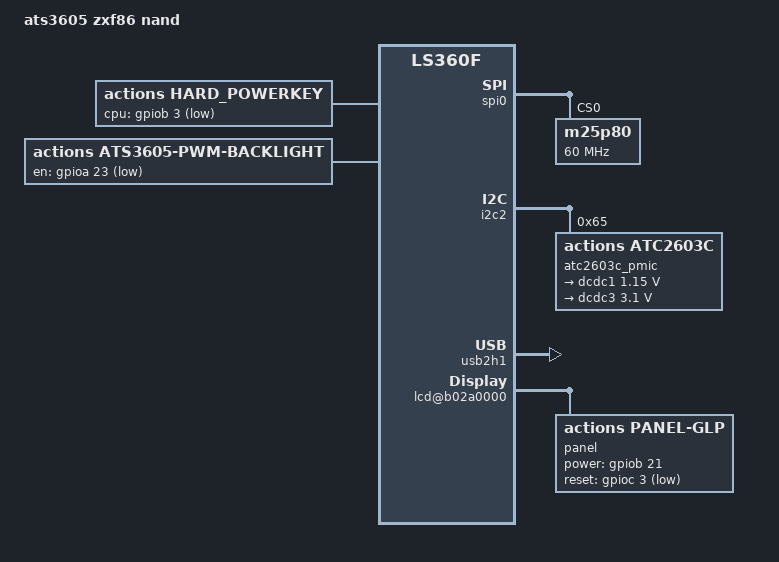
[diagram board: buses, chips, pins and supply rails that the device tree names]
/*
 * Copyright (c) 2015 Actions Semi Co., Ltd.
 *
 * SPDX-License-Identifier:	GPL-2.0+
 */

/dts-v1/;

#include "ats3605.dtsi"

/ {
	model = "ats3605 zxf86 nand";
	compatible ="actions,ats3605";

	chosen {
		stdout-path = &serial5;
	};


	spi0: spi@b0300000 {
		status = "okay";
		m25p80@0 {
            compatible = "m25p80";
            #address-cells = <1>;
            #size-cells = <0>;
            reg = <0x0>;
            spi-max-frequency = <60000000>;
            uboot-partition = <0x0 0xe0000>;
            misc-partition = <0xe0000 0x20000>;
            system-partition = <0x100000 0xf00000>;
        };
	};

	hard_powerkey {
		compatible = "actions,hard_powerkey";
		cpu_gpios = <&gpiob 3 1>;/*hard_powerkey, (0: high  , 1: low )*/
		//pmu_sgpio = <4 1> ;  /*4 SGPIO num,    (0: high, 1: low)*/
	};
	i2c2: i2c@b0188000{
		#address-cells = <1>;
		#size-cells = <1>;
		atc2603c_pmic {
			compatible = "actions,atc2603c";
			reg = <0x65 1>;

			atc2603c_pstore {
				compatible = "actions,atc2603c-pstore";
			};

			voltage-regulators {
				dcdc1: dcdc1 {
					regulator-name = "dcdc1";
					regulator-min-microvolt = <1150000>;
					regulator-max-microvolt = <1150000>;
					regulator-always-on;
				};

				dcdc3: dcdc3 {
					regulator-name = "dcdc3";
					regulator-min-microvolt = <3100000>;
					regulator-max-microvolt = <3100000>;
					regulator-always-on;
				};

			};

			atc2603c-battery{
				compatible = "actions,atc2603c-battery";
				capacity = <4000>;/*unit:mAh*/
				shutdown_current = <50>;/*unit:ua*/
			};
			atc2603c-charger{
				compatible = "actions,atc2603c-charger";
				rsense = <20>;/*unit:mohm*/
				support_adaptor_type = <3>; /*1: DCIN  2: USB  3:DCIN+USB*/
				usb_pc_ctl_mode = <1>; /*0:disable vbus ctl;1:current limited;2:voltage limited*/
				//wall_switch = <&gpioa 25 0>;/*GPIOA25,0: high, 1: low*/
			};
		};
	};


	usb2h0: usb@b0240000 {
		id = <0>;
		usbecs = <0xb0158090>;
		vbus-gpio = <&gpiob 9 0>;
		status = "disabled";
	};

	usb2h1: usb@b0250000 {
		id = <1>;
		usbecs = <0xb0158094>;
		status = "okay";
	};

	backlight {
		compatible = "actions,ats3605-pwm-backlight";

		/* GPIOD28, active high */
		en-gpios = <&gpioa 23 1>;

		/*1.pwm num; 2. period in ns; */
		/*3.plarity, 0: high active, 1: low active*/
		/* pwms = <&pwm 0 50000 1>; */

		total_steps = <1024>;
		min_brightness = <100>;
		max_brightness = <1000>;
		dft_brightness = <500>;

		delay_bf_pwm = <0>; /*in ms*/
		delay_af_pwm = <20>; /*in ms*/
	};

	lcd@b02a0000 {
		panel_configs = <&config0>;

		/* 1280x800p60 */
		config0: lcd_configs {
			port_type = <1>;	/* 0, RGB; 1, CPU; 2, LVDS; 3, EDP */

			vsync_inversion = <0>;
			hsync_inversion = <0>;
			dclk_inversion = <0>;
			lde_inversion = <0>;
		
			/* cpu port properties */
			cpu_format = <2>;		/* 0: 16 bit RGB 565 1 transfer;
							 * 1: 18 bit RGB 666 1 transfer
							 * 2:  8 bit RGB 565 2 transfer
							 * 3:  9 bit RGB 666 2 transfer
							 * 4:  8 bit RGB 888 3 transfer
							 * 5:  6 bit RGB 666 3 transfer
							 */

			/* lvds config */
			lvds_format = <1>;      /* 0: 18-bit; 1: 24-bit */
			lvds_channel = <0>;     /* 0: single channel; 1: dual channel */
			lvds_bit_mapping = <0>; /* 0: NS Mode; 1: JEIDA Mode */
			lvds_ch_swap = <0>;     /* 0: No Swap; 1: Odd/Even Swap */
			lvds_mirror = <0>;      /* 0: normal; 1: mirror */

			pclk_parent = <0>;	/* 0, DISPLAY PLL; 1, NAND PLL */
			pclk_rate = <15000000>;/* 10MHz */
			
		};
		/* lcd panel */
		panel@glp {
			compatible = "actions,panel-glp";

			/* panel's fixed info */
			width_mm = <197>;
			height_mm = <147>;
			bpp = <16>;

			is_primary = <1>;

			/* operation delay in ms */
			power_on_delay = <0>;
			power_off_delay = <0>;
			enable_delay = <0>;
			disable_delay = <0>;

			power-gpio = <&gpiob 21 0>;/* high active */
			reset-gpio = <&gpioc 3 1>;/* low active */

			/* screen init command info */
			glp_init_cmd-0 = <&scmd0>;
			glp_init_cmd-1 = <&scmd1>;
			glp_init_cmd-2 = <&scmd2>;
			glp_init_cmd-3 = <&scmd3>;
			glp_init_cmd-4 = <&scmd4>;
			glp_init_cmd-5 = <&scmd5>;
			glp_init_cmd-6 = <&scmd6>;
			glp_init_cmd-7 = <&scmd7>;
			glp_init_cmd-8 = <&scmd8>;
			glp_init_cmd-9 = <&scmd9>;
			glp_init_cmd-10 = <&scmd10>;
			glp_init_cmd-11 = <&scmd11>;
			glp_init_cmd-12 = <&scmd12>;
			glp_init_cmd-13 = <&scmd13>;
			glp_init_cmd-14 = <&scmd14>;
			glp_init_cmd-15 = <&scmd15>;
			//glp_init_cmd-16 = <&scmd16>;
			//glp_init_cmd-17 = <&scmd17>;

			videomode-0 = <&mode0>;

			/* 800x1280p60 */
			mode0: videomode {
				refresh_rate = <60>;

				xres = <240>;
				yres = <320>;
				/*
				 * pclk_rate = 66M
				 * pixel_clock = picoseconds / pclk_rate
				 */
				pixel_clock = <15152>;

				hsw = <12>;
				hbp = <20>;
				hfp = <40>;

				vsw = <2>;
				vbp = <10>;
				vfp = <33>;

				/* 0: FB_VMODE_NONINTERLACED, 1:FB_VMODE_INTERLACED */
				vmode = <0>;
			};
			scmd0: cmd0 {
	                        address = <0x11>;
				delay = <120>;
			};


			scmd1: cmd1 {
	                        address = <0x36>;
	                        parameters = [00];
				delay = <0>;
			};
			scmd2: cmd2 {
	                        address = <0x3a>;
	                        parameters = [55];
				delay = <0>;
			};
			scmd3: cmd3 {
	                        address = <0xb2>;
	                        parameters = [0c 0c 00 33 33];
				delay = <0>;
			};
			scmd4: cmd4 {
	                        address = <0xb7>;
	                        parameters = [35];
				delay = <0>;
			};
			scmd5: cmd5 {
	                        address = <0xbb>;
	                        parameters = [19];
				delay = <0>;
			};
			scmd6: cmd6 {
	                        address = <0xc0>;
	                        parameters = [2c];
				delay = <0>;
			};
			scmd7: cmd7 {
	                        address = <0xc2>;
	                        parameters = [01];
				delay = <0>;
			};
			scmd8: cmd8 {
	                        address = <0xc3>;
	                        parameters = [12];
				delay = <0>;
			};
			scmd9: cmd9 {
	                        address = <0xc4>;
	                        parameters = [20];
				delay = <0>;
			};
			scmd10: cmd10 {
	                        address = <0xc6>;
	                        parameters = [0f];
				delay = <0>;
			};
			scmd11: cmd11 {
	                        address = <0xd0>;
	                        parameters = [a4 a1];
				delay = <0>;
			};
			scmd12: cmd12 {
	                        address = <0xe0>;
	                        parameters = [d0
	                        04
	                        0d
	                        11
	                        13
	                        2b
	                        3f
	                        54
	                        4c
	                        18
	                        0d
	                        0b
	                        1f
	                        23];
				delay = <0>;
			};
			scmd13: cmd13 {
	                        address = <0xe1>;
	                        parameters = [d0
	                        04
	                        0c
	                        11
	                        13
	                        2c
	                        3f
	                        44
	                        51
	                        2f
	                        1f
	                        1f
	                        20
	                        23];
				delay = <0>;
			};
			scmd14: cmd14 {
	                        address = <0x29>;
				delay = <0>;
			};
			scmd15: cmd15 {
	                        address = <0x2c>;
				delay = <0>;
			};
		};
	};

};
